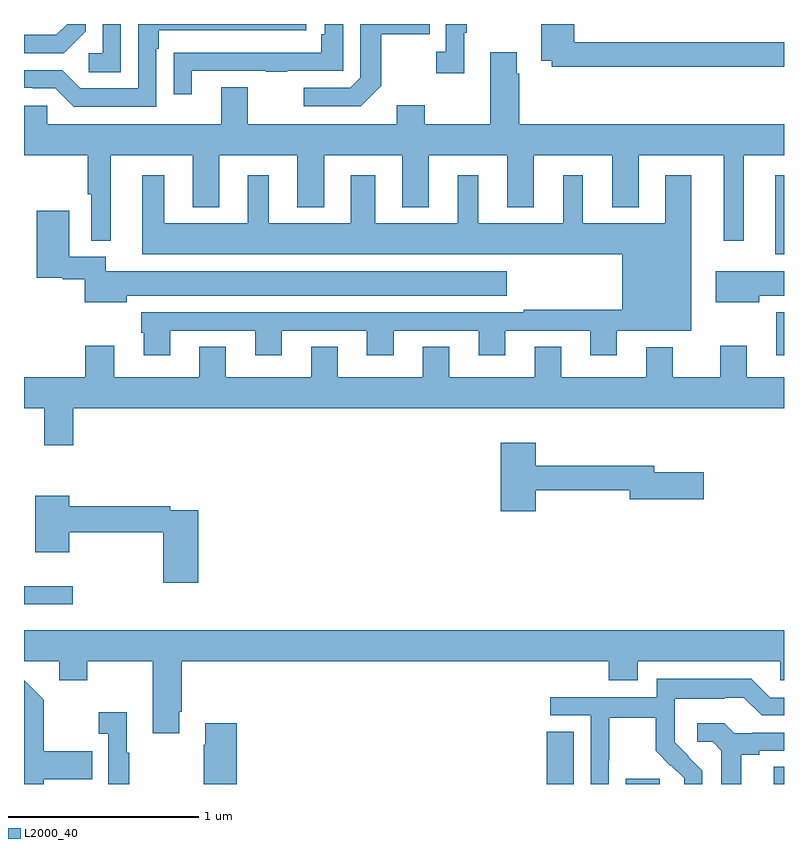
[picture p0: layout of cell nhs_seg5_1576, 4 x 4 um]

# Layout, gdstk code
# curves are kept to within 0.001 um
import gdstk
lib = gdstk.Library(unit=1e-6, precision=1e-09)
def R(c, l, rs):  # rectangles x0, y0, x1, y1
    for r in rs: c.add(gdstk.rectangle(r[:2], r[2:], *l))
def P(c, l, *ps):  # polygons
    for p in ps: c.add(gdstk.Polygon(p, *l))
L2000_40 = (2000, 40)

nhs_seg5_1576 = lib.new_cell('nhs_seg5_1576')
R(nhs_seg5_1576, L2000_40, [(209.75,838.799,209.893,839.075), (210.167,838.799,210.346,838.827), (210.947,838.799,211,838.889), (207,839.744,207.256,839.841), (210.959,841.056,211,841.281), (210.953,841.586,211,842.002)])
P(nhs_seg5_1576, L2000_40, [(209.317,842.753),(209.329,842.753),(209.329,842.799),(209.22,842.799),(209.22,842.654),(209.169,842.654),(209.169,842.541),(209.317,842.541)],
  [(208.879,842.473),(208.879,842.746),(209.135,842.746),(209.135,842.799),(208.77,842.799),(208.77,842.517),(208.716,842.463),(208.473,842.463),(208.473,842.367),(208.773,842.367)],
  [(207.51,842.799),(207.414,842.799),(207.414,842.646),(207.342,842.646),(207.342,842.545),(207.51,842.545)],
  [(207.324,842.762),(207.324,842.799),(207.227,842.799),(207.17,842.742),(207,842.742),(207,842.646),(207.208,842.646)],
  [(207.696,842.669),(207.709,842.669),(207.709,842.766),(208.486,842.766),(208.486,842.799),(207.6,842.799),(207.6,842.46),(207.297,842.46),(207.201,842.556),(207,842.556),(207,842.463),(207.047,842.463),(207.047,842.46),(207.165,842.46),(207.261,842.364),(207.696,842.364)],
  [(211,842.702),(209.897,842.702),(209.897,842.799),(209.722,842.799),(209.722,842.606),(209.778,842.606),(209.778,842.574),(211,842.574)],
  [(207.883,842.553),(208.273,842.553),(208.273,842.548),(208.385,842.548),(208.385,842.553),(208.68,842.553),(208.68,842.799),(208.584,842.799),(208.584,842.746),(208.564,842.746),(208.564,842.649),(207.889,842.649),(207.889,842.648),(207.787,842.648),(207.787,842.43),(207.883,842.43)],
  [(207.457,842.108),(207.887,842.108),(207.887,841.835),(208.027,841.835),(208.027,842.108),(208.439,842.108),(208.439,841.835),(208.579,841.835),(208.579,842.108),(208.991,842.108),(208.991,841.835),(209.131,841.835),(209.131,842.108),(209.543,842.108),(209.543,841.835),(209.683,841.835),(209.683,842.108),(210.095,842.108),(210.095,841.835),(210.235,841.835),(210.235,842.108),(210.683,842.108),(210.683,841.659),(210.787,841.659),(210.787,842.108),(211,842.108),(211,842.272),(209.606,842.272),(209.606,842.537),(209.593,842.537),(209.593,842.65),(209.453,842.65),(209.453,842.272),(209.109,842.272),(209.109,842.371),(208.961,842.371),(208.961,842.272),(208.177,842.272),(208.177,842.467),(208.037,842.467),(208.037,842.272),(207.123,842.272),(207.123,842.37),(207,842.37),(207,842.108),(207.336,842.108),(207.336,841.903),(207.353,841.903),(207.353,841.659),(207.457,841.659)],
  [(207.769,841.185),(208.217,841.185),(208.217,841.056),(208.357,841.056),(208.357,841.185),(208.805,841.185),(208.805,841.056),(208.945,841.056),(208.945,841.185),(209.393,841.185),(209.393,841.056),(209.533,841.056),(209.533,841.185),(209.981,841.185),(209.981,841.056),(210.121,841.056),(210.121,841.184),(210.511,841.184),(210.511,842.002),(210.374,842.002),(210.374,841.75),(209.941,841.75),(209.941,842.002),(209.837,842.002),(209.837,841.75),(209.392,841.75),(209.392,842.002),(209.282,842.002),(209.282,841.75),(208.849,841.75),(208.849,842.002),(208.721,842.002),(208.721,841.75),(208.288,841.75),(208.288,842.002),(208.178,842.002),(208.178,841.75),(207.739,841.75),(207.739,842.002),(207.623,842.002),(207.623,841.586),(210.149,841.586),(210.149,841.294),(209.629,841.294),(209.629,841.281),(207.617,841.281),(207.617,841.173),(207.629,841.173),(207.629,841.056),(207.769,841.056)],
  [(207.541,841.37),(209.542,841.37),(209.542,841.498),(207.43,841.498),(207.43,841.573),(207.238,841.573),(207.238,841.816),(207.068,841.816),(207.068,841.463),(207.204,841.463),(207.204,841.456),(207.32,841.456),(207.32,841.334),(207.541,841.334)],
  [(210.871,841.37),(211,841.37),(211,841.498),(210.642,841.498),(210.642,841.334),(210.871,841.334)],
  [(207.26,840.776),(211,840.776),(211,840.94),(210.805,840.94),(210.805,841.105),(210.665,841.105),(210.665,840.94),(210.415,840.94),(210.415,841.099),(210.275,841.099),(210.275,840.94),(209.827,840.94),(209.827,841.1),(209.687,841.1),(209.687,840.94),(209.239,840.94),(209.239,841.1),(209.099,841.1),(209.099,840.94),(208.651,840.94),(208.651,841.1),(208.511,841.1),(208.511,840.94),(208.063,840.94),(208.063,841.1),(207.923,841.1),(207.923,840.94),(207.475,840.94),(207.475,841.105),(207.323,841.105),(207.323,840.94),(207,840.94),(207,840.776),(207.107,840.776),(207.107,840.582),(207.26,840.582)],
  [(209.693,840.346),(210.188,840.346),(210.188,840.299),(210.577,840.299),(210.577,840.441),(210.316,840.441),(210.316,840.475),(209.693,840.475),(209.693,840.595),(209.51,840.595),(209.51,840.234),(209.693,840.234)],
  [(207.917,840.24),(207.77,840.24),(207.77,840.26),(207.238,840.26),(207.238,840.316),(207.059,840.316),(207.059,840.02),(207.238,840.02),(207.238,840.124),(207.734,840.124),(207.734,839.859),(207.917,839.859)],
  [(207.817,839.179),(207.83,839.179),(207.83,839.444),(210.077,839.444),(210.077,839.345),(210.229,839.345),(210.229,839.444),(210.981,839.444),(210.981,839.346),(211,839.346),(211,839.608),(207,839.608),(207,839.444),(207.185,839.444),(207.185,839.345),(207.333,839.345),(207.333,839.444),(207.677,839.444),(207.677,839.067),(207.817,839.067)],
  [(210.078,838.924),(210.081,838.924),(210.081,839.148),(210.325,839.148),(210.325,838.973),(210.402,838.896),(210.405,838.899),(210.476,838.829),(210.476,838.799),(210.57,838.799),(210.57,838.87),(210.424,839.018),(210.424,839.115),(210.426,839.115),(210.426,839.249),(210.689,839.249),(210.689,839.253),(210.789,839.253),(210.882,839.16),(211,839.16),(211,839.253),(210.927,839.253),(210.827,839.353),(210.33,839.353),(210.33,839.256),(209.769,839.256),(209.769,839.16),(209.982,839.16),(209.982,838.799),(210.078,838.799)],
  [(207.103,838.823),(207.359,838.823),(207.359,838.971),(207.103,838.971),(207.103,839.243),(207,839.346),(207,838.799),(207.103,838.799)],
  [(207.553,838.963),(207.541,838.963),(207.541,839.176),(207.393,839.176),(207.393,839.063),(207.444,839.063),(207.444,838.799),(207.553,838.799)],
  [(208.121,839.119),(207.953,839.119),(207.953,839.006),(207.946,839.006),(207.946,838.799),(208.121,838.799)],
  [(210.775,838.952),(210.871,838.952),(210.871,838.974),(211,838.974),(211,839.07),(210.832,839.07),(210.832,839.067),(210.738,839.067),(210.686,839.119),(210.543,839.119),(210.543,839.022),(210.624,839.022),(210.671,838.975),(210.671,838.799),(210.775,838.799)])

lib.write_gds('nhs_seg5_1576.gds')
